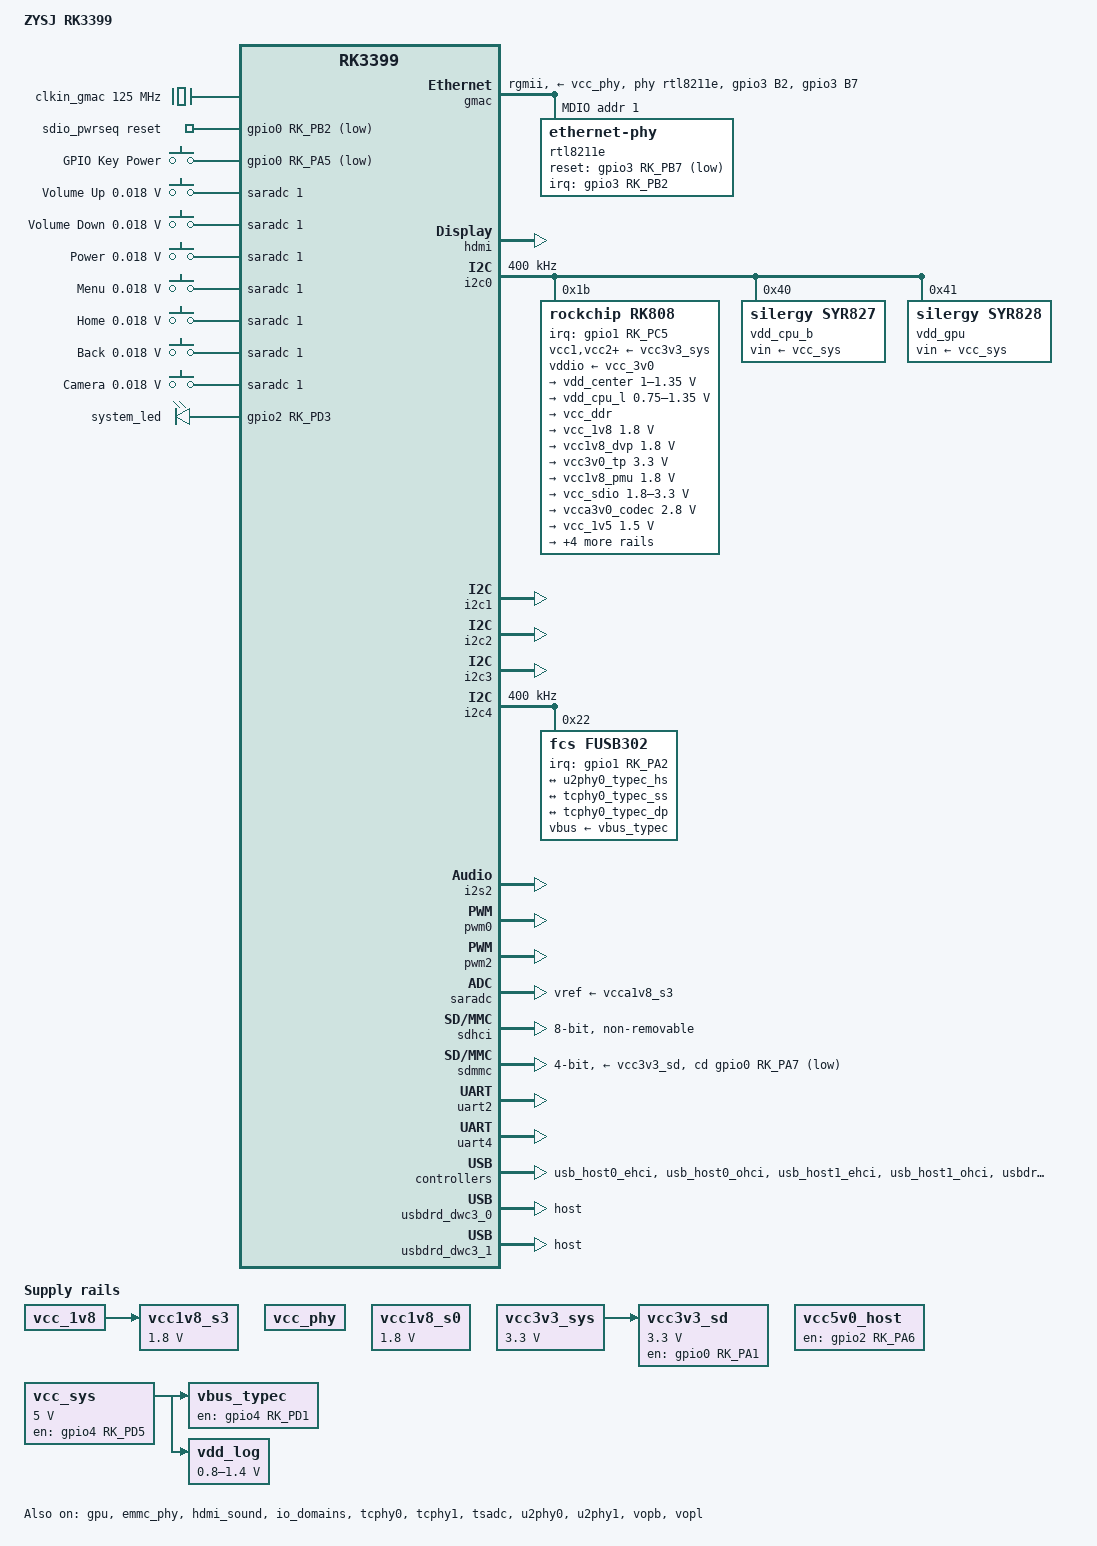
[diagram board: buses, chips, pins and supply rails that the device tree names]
// SPDX-License-Identifier: (GPL-2.0+ OR MIT)
/dts-v1/;

#include <dt-bindings/pwm/pwm.h>
#include <dt-bindings/input/input.h>
#include <dt-bindings/usb/pd.h>
#include "rk3399.dtsi"
#include "rk3399-opp.dtsi"
// 降频opp
// #include "rk3399-t-opp.dtsi"

/ {
	model = "ZYSJ RK3399";
	compatible = "rockchip,rk3399";

	aliases {
		mmc0 = &sdio0;
		mmc1 = &sdmmc;
		mmc2 = &sdhci;
	};

	chosen {
		stdout-path = "serial2:1500000n8";
	};

	backlight: backlight {
		compatible = "pwm-backlight";
		brightness-levels = <
			  0   1   2   3   4   5   6   7
			  8   9  10  11  12  13  14  15
			 16  17  18  19  20  21  22  23
			 24  25  26  27  28  29  30  31
			 32  33  34  35  36  37  38  39
			 40  41  42  43  44  45  46  47
			 48  49  50  51  52  53  54  55
			 56  57  58  59  60  61  62  63
			 64  65  66  67  68  69  70  71
			 72  73  74  75  76  77  78  79
			 80  81  82  83  84  85  86  87
			 88  89  90  91  92  93  94  95
			 96  97  98  99 100 101 102 103
			104 105 106 107 108 109 110 111
			112 113 114 115 116 117 118 119
			120 121 122 123 124 125 126 127
			128 129 130 131 132 133 134 135
			136 137 138 139 140 141 142 143
			144 145 146 147 148 149 150 151
			152 153 154 155 156 157 158 159
			160 161 162 163 164 165 166 167
			168 169 170 171 172 173 174 175
			176 177 178 179 180 181 182 183
			184 185 186 187 188 189 190 191
			192 193 194 195 196 197 198 199
			200 201 202 203 204 205 206 207
			208 209 210 211 212 213 214 215
			216 217 218 219 220 221 222 223
			224 225 226 227 228 229 230 231
			232 233 234 235 236 237 238 239
			240 241 242 243 244 245 246 247
			248 249 250 251 252 253 254 255>;
		default-brightness-level = <200>;
		enable-gpios = <&gpio1 RK_PA1 GPIO_ACTIVE_HIGH>; // bsp
		pwms = <&pwm0 0 25000 0>;
		// status = "okay";
		status = "disabled";
	};

	clkin_gmac: external-gmac-clock {
		compatible = "fixed-clock";
		clock-frequency = <125000000>;
		clock-output-names = "clkin_gmac";
		#clock-cells = <0>;
	};

	sdio_pwrseq: sdio-pwrseq {
		compatible = "mmc-pwrseq-simple";
		clocks = <&rk808 1>;
		clock-names = "ext_clock";
		pinctrl-names = "default";
		pinctrl-0 = <&wifi_reg_on_h>;
		reset-gpios = <&gpio0 RK_PB2 GPIO_ACTIVE_LOW>; // bsp
	};

	vcc_phy: vcc-phy-regulator { // bsp
		compatible = "regulator-fixed";
		regulator-name = "vcc_phy";
		regulator-always-on;
		regulator-boot-on;
	};

	vcc1v8_s0: vcc1v8-s0 { // bsp
		compatible = "regulator-fixed";
		regulator-name = "vcc1v8_s0";
		regulator-always-on;
		regulator-boot-on;
		regulator-min-microvolt = <1800000>;
		regulator-max-microvolt = <1800000>;
	};

	/* switched by pmic_sleep */
	vcc1v8_s3: vcca1v8_s3: vcc1v8-s3 { // ?
		compatible = "regulator-fixed";
		regulator-name = "vcc1v8_s3";
		regulator-always-on;
		regulator-boot-on;
		regulator-min-microvolt = <1800000>;
		regulator-max-microvolt = <1800000>;
		vin-supply = <&vcc_1v8>;
	};

	vcc3v3_sd: vcc3v0-sd {
		compatible = "regulator-fixed";
		enable-active-high;
		gpio = <&gpio0 RK_PA1 GPIO_ACTIVE_HIGH>; // bsp
		pinctrl-names = "default";
		pinctrl-0 = <&sdmmc0_pwr_h>;
		regulator-boot-on;
		regulator-max-microvolt = <3300000>;
		regulator-min-microvolt = <3300000>;
		regulator-name = "vcc3v3_sd";
		vin-supply = <&vcc3v3_sys>;
		};

	vcc3v3_sys: vcc3v3-sys { // bsp
		compatible = "regulator-fixed";
		regulator-name = "vcc3v3_sys";
		regulator-always-on;
		regulator-boot-on;
		regulator-min-microvolt = <3300000>;
		regulator-max-microvolt = <3300000>;
	};

	vcc5v0_host: vcc5v0-host-regulator {
		compatible = "regulator-fixed";
		enable-active-high;
		gpio = <&gpio2 RK_PA6 GPIO_ACTIVE_HIGH>; // bsp
		pinctrl-names = "default";
		pinctrl-0 = <&vcc5v0_host_en>;
		regulator-name = "vcc5v0_host";
		regulator-always-on;
	};

	vbus_typec: vbus-typec-regulator {
		compatible = "regulator-fixed";
		enable-active-high;
		gpio = <&gpio4 RK_PD1 GPIO_ACTIVE_HIGH>; //bsp
		pinctrl-names = "default";
		pinctrl-0 = <&vcc5v0_typec_en>;
		regulator-name = "vbus_typec";
		vin-supply = <&vcc_sys>;
	};

	vcc_sys: vcc-sys { // bsp
		compatible = "regulator-fixed";
		enable-active-high;
		gpio = <&gpio4 RK_PD5 GPIO_ACTIVE_HIGH>; //bsp
		pinctrl-names = "default";
		pinctrl-0 = <&vcc5v0_en>;
		regulator-name = "vcc_sys";
		regulator-always-on;
		regulator-boot-on;
		regulator-min-microvolt = <5000000>;
		regulator-max-microvolt = <5000000>;
	};

	vdd_log: vdd-log { // bsp
		compatible = "pwm-regulator";
		pwms = <&pwm2 0 25000 1>;
		regulator-name = "vdd_log";
		regulator-always-on;
		regulator-boot-on;
		regulator-min-microvolt = <800000>;
		regulator-max-microvolt = <1400000>;
		vin-supply = <&vcc_sys>;
	};

/*
	// Unused DSI
	vcc_lcd: vcc-lcd { // bsp
		compatible = "regulator-fixed";
		enable-active-high;
		gpio = <&gpio3 RK_PD4 GPIO_ACTIVE_HIGH>;
		pinctrl-names = "default";
		pinctrl-0 = <&lcd_panel_reset>;
		regulator-boot-on;
		regulator-max-microvolt = <3300000>;
		regulator-min-microvolt = <3300000>;
		regulator-name = "vcc_lcd";
		startup-delay-us = <20000>;
		vin-supply = <&vcc_sys>;
	};
*/

	rt5651-sound {
		// status = "okay";
		status = "disabled";
		compatible = "simple-audio-card";
		pinctrl-names = "default";
		pinctrl-0 = <&rt5651_hpdet>;

		simple-audio-card,name = "realtek,rt5651-codec";
		simple-audio-card,format = "i2s";
		simple-audio-card,mclk-fs = <256>;
		simple-audio-card,hp-det-gpio = <&gpio4 RK_PD4 GPIO_ACTIVE_HIGH>;
		simple-audio-card,aux-devs = <&speaker_amp>;
		simple-audio-card,pin-switches = "Speaker";
		simple-audio-card,widgets =
			"Microphone", "Mic Jack",
			"Headphone", "Headphones",
			"Speaker", "Speaker";
		simple-audio-card,routing =
			"Mic Jack", "micbias1",
			"Headphones", "HPOL",
			"Headphones", "HPOR",
			"Speaker Amplifier INL", "HPOL",
			"Speaker Amplifier INR", "HPOR",
			"Speaker", "Speaker Amplifier OUTL",
			"Speaker", "Speaker Amplifier OUTR";
		simple-audio-card,cpu {
			sound-dai = <&i2s0>;
		};
		simple-audio-card,codec {
			sound-dai = <&rt5651>;
		};
	};

	speaker_amp: speaker-amplifier {
		compatible = "simple-audio-amplifier";
		pinctrl-names = "default";
		pinctrl-0 = <&rt5651_spkcon>;
		enable-gpios = <&gpio0 RK_PB3 GPIO_ACTIVE_HIGH>;
		sound-name-prefix = "Speaker Amplifier";
		// VCC-supply = <&vcc5v0_sys>;
		status = "disabled";
	};

	gpio-keys {
		compatible = "gpio-keys";
		autorepeat;
		pinctrl-names = "default";
		pinctrl-0 = <&pwrbtn>;

		key-power {
			debounce-interval = <100>;
			gpios = <&gpio0 RK_PA5 GPIO_ACTIVE_LOW>; // bsp
			label = "GPIO Key Power";
			linux,code = <KEY_POWER>;
			wakeup-source;
		};
	};

	adc-keys {
		compatible = "adc-keys";
		io-channels = <&saradc 1>;
		io-channel-names = "buttons";
		keyup-threshold-microvolt = <1800000>;
		poll-interval = <100>;

		vol-up {
				label = "Volume Up";
				linux,code = <KEY_VOLUMEUP>;
				press-threshold-microvolt = <18000>;
		};
		vol-down {
				label = "Volume Down";
				linux,code = <KEY_VOLUMEDOWN>;
				press-threshold-microvolt = <18000>;
		};
		power {
				label = "Power";
				linux,code = <KEY_POWER>;
				press-threshold-microvolt = <18000>;
		};
		menu {
				label = "Menu";
				linux,code = <KEY_F1>;
				press-threshold-microvolt = <18000>;
		};
		home {
				label = "Home";
				linux,code = <KEY_HOME>;
				press-threshold-microvolt = <18000>;
		};
		back {
				label = "Back";
				linux,code = <KEY_BACK>;
				press-threshold-microvolt = <18000>;
		};
		camera {
				label = "Camera";
				linux,code = <KEY_CAMERA>;
				press-threshold-microvolt = <18000>;
		};
	};

	leds {
		compatible = "gpio-leds";
		pinctrl-names = "default";
		pinctrl-0 = <&sys_led_pin>;

		sys_led: sys-led {
			label = "system_led";
			default-state = "on";
			gpios = <&gpio2 RK_PD3 GPIO_ACTIVE_HIGH>;
		};
	};
};

&cpu_l0 {
	cpu-supply = <&vdd_cpu_l>;
};

&cpu_l1 {
	cpu-supply = <&vdd_cpu_l>;
};

&cpu_l2 {
	cpu-supply = <&vdd_cpu_l>;
};

&cpu_l3 {
	cpu-supply = <&vdd_cpu_l>;
};

&cpu_b0 {
	cpu-supply = <&vdd_cpu_b>;
};

&cpu_b1 {
	cpu-supply = <&vdd_cpu_b>;
};

&gpu {
	mali-supply = <&vdd_gpu>;
	status = "okay";
};

&emmc_phy {
	status = "okay";
};

&gmac {
	assigned-clocks = <&cru SCLK_RMII_SRC>;
	assigned-clock-parents = <&clkin_gmac>;
	clock_in_out = "input";
	phy-supply = <&vcc_phy>;
	phy-mode = "rgmii";
	phy-handle = <&rtl8211e>;
	pinctrl-names = "default";
	pinctrl-0 = <&rgmii_pins>, <&phy_intb>, <&phy_rstb>;
	tx_delay = <0x30>;
	rx_delay = <0x20>;
	status = "okay";

	mdio {
		compatible = "snps,dwmac-mdio";
		#address-cells = <1>;
		#size-cells = <0>;

		rtl8211e: ethernet-phy@1 {
			reg = <1>;
			interrupt-parent = <&gpio3>;
			interrupts = <RK_PB2 IRQ_TYPE_LEVEL_LOW>;
			reset-assert-us = <10000>;
			reset-deassert-us = <30000>;
			reset-gpios = <&gpio3 RK_PB7 GPIO_ACTIVE_LOW>; // bsp
		};
	};
};

&hdmi {
	ddc-i2c-bus = <&i2c3>;
	status = "okay";
};

&hdmi_sound {
	status = "okay";
};

&i2c0 {
	clock-frequency = <400000>;
	i2c-scl-rising-time-ns = <168>;
	i2c-scl-falling-time-ns = <4>;
	status = "okay";

	rk808: pmic@1b { // bsp checked
		compatible = "rockchip,rk808";
		reg = <0x1b>;
		interrupt-parent = <&gpio1>;
		interrupts = <RK_PC5 IRQ_TYPE_LEVEL_LOW>;
		#clock-cells = <1>;
		clock-output-names = "xin32k", "rk808-clkout2"; // bsp
		pinctrl-names = "default";
		pinctrl-0 = <&pmic_int_l &pmic_dvs2>;
		// pinctrl-0 = <&pmic_int_l>;
		rockchip,system-power-controller;
		wakeup-source;

		vcc1-supply = <&vcc3v3_sys>;
		vcc2-supply = <&vcc3v3_sys>;
		vcc3-supply = <&vcc3v3_sys>;
		vcc4-supply = <&vcc3v3_sys>;
		vcc6-supply = <&vcc3v3_sys>;
		vcc7-supply = <&vcc3v3_sys>;
		vcc8-supply = <&vcc3v3_sys>;
		vcc9-supply = <&vcc3v3_sys>;
		vcc10-supply = <&vcc3v3_sys>;
		vcc11-supply = <&vcc3v3_sys>;
		vcc12-supply = <&vcc3v3_sys>;
		vddio-supply = <&vcc_3v0>;

		regulators {
			vdd_center: DCDC_REG1 {
				regulator-name = "vdd_center";
				regulator-always-on;
				regulator-boot-on;
				regulator-min-microvolt = <1000000>;
				regulator-max-microvolt = <1350000>;
				regulator-ramp-delay = <6001>;
				regulator-state-mem {
					regulator-off-in-suspend;
				};
			};

			vdd_cpu_l: DCDC_REG2 {
				regulator-name = "vdd_cpu_l";
				regulator-always-on;
				regulator-boot-on;
				regulator-min-microvolt = <750000>;
				regulator-max-microvolt = <1350000>;
				regulator-ramp-delay = <6001>;
				regulator-state-mem {
					regulator-off-in-suspend;
				};
			};

			vcc_ddr: DCDC_REG3 {
				regulator-name = "vcc_ddr";
				regulator-always-on;
				regulator-boot-on;
				regulator-state-mem {
					regulator-on-in-suspend;
				};
			};

			vcc_1v8: DCDC_REG4 {
				regulator-name = "vcc_1v8";
				regulator-always-on;
				regulator-boot-on;
				regulator-min-microvolt = <1800000>;
				regulator-max-microvolt = <1800000>;
				regulator-state-mem {
					regulator-on-in-suspend;
					regulator-suspend-microvolt = <1800000>;
				};
			};

			vcc1v8_dvp: LDO_REG1 {
				regulator-name = "vcc1v8_dvp";
				regulator-always-on;
				regulator-boot-on;
				regulator-min-microvolt = <1800000>;
				regulator-max-microvolt = <1800000>;
				regulator-state-mem {
					regulator-off-in-suspend;
				};
			};

			vcc3v0_tp: LDO_REG2 {
				regulator-name = "vcc3v0_tp";
				regulator-always-on;
				regulator-boot-on;
				regulator-min-microvolt = <3300000>;
				regulator-max-microvolt = <3300000>;
				regulator-state-mem {
					regulator-off-in-suspend;
				};
			};

			vcc1v8_pmu: LDO_REG3 {
				regulator-name = "vcc1v8_pmu";
				regulator-always-on;
				regulator-boot-on;
				regulator-min-microvolt = <1800000>;
				regulator-max-microvolt = <1800000>;
				regulator-state-mem {
					regulator-on-in-suspend;
					regulator-suspend-microvolt = <1800000>;
				};
			};

			vcc_sdio: LDO_REG4 {
				regulator-name = "vcc_sdio";
				regulator-always-on;
				regulator-boot-on;
				regulator-min-microvolt = <1800000>;
				regulator-max-microvolt = <3300000>;
				regulator-state-mem {
					regulator-on-in-suspend;
					regulator-suspend-microvolt = <3000000>;
				};
			};

			vcca3v0_codec: LDO_REG5 {
				regulator-name = "vcca3v0_codec";
				regulator-always-on;
				regulator-boot-on;
				regulator-min-microvolt = <2800000>;
				regulator-max-microvolt = <2800000>;
				regulator-state-mem {
					regulator-off-in-suspend;
				};
			};

			vcc_1v5: LDO_REG6 {
				regulator-name = "vcc_1v5";
				regulator-always-on;
				regulator-boot-on;
				regulator-min-microvolt = <1500000>;
				regulator-max-microvolt = <1500000>;
				regulator-state-mem {
					regulator-on-in-suspend;
					regulator-suspend-microvolt = <1500000>;
				};
			};

			vcca1v8_codec: LDO_REG7 {
				regulator-name = "vcca1v8_codec";
				regulator-always-on;
				regulator-boot-on;
				regulator-min-microvolt = <1800000>;
				regulator-max-microvolt = <1800000>;
				regulator-state-mem {
					regulator-off-in-suspend;
				};
			};

			vcc_3v0: LDO_REG8 {
				regulator-name = "vcc_3v0";
				regulator-always-on;
				regulator-boot-on;
				regulator-min-microvolt = <3000000>;
				regulator-max-microvolt = <3000000>;
				regulator-state-mem {
					regulator-on-in-suspend;
					regulator-suspend-microvolt = <3000000>;
				};
			};

			vcc3v3_s3: vcc_lan: SWITCH_REG1 {
				regulator-name = "vcc3v3_s3";
				regulator-always-on;
				regulator-boot-on;
				regulator-state-mem {
					regulator-off-in-suspend;
				};
			};

			vcc3v3_s0: SWITCH_REG2 {
				regulator-name = "vcc3v3_s0";
				regulator-always-on;
				regulator-boot-on;
				regulator-state-mem {
					regulator-off-in-suspend;
				};
			};
		};
	};

	vdd_cpu_b: regulator@40 {
		compatible = "silergy,syr827";
		reg = <0x40>;
		fcs,suspend-voltage-selector = <1>;
		pinctrl-names = "default";
		pinctrl-0 = <&cpu_b_sleep>; // bsp
		regulator-name = "vdd_cpu_b";
		regulator-min-microvolt = <712500>;
		regulator-max-microvolt = <1500000>;
		regulator-ramp-delay = <1000>;
		regulator-always-on;
		regulator-boot-on;
		vin-supply = <&vcc_sys>;

		regulator-state-mem {
			regulator-off-in-suspend;
		};
	};

	vdd_gpu: regulator@41 {
		compatible = "silergy,syr828";
		reg = <0x41>;
		fcs,suspend-voltage-selector = <1>;
		pinctrl-names = "default";
		pinctrl-0 = <&gpu_sleep>; // bsp
		regulator-name = "vdd_gpu";
		regulator-min-microvolt = <712500>;
		regulator-max-microvolt = <1500000>;
		regulator-ramp-delay = <1000>;
		regulator-always-on;
		regulator-boot-on;
		vin-supply = <&vcc_sys>;

		regulator-state-mem {
			regulator-off-in-suspend;
		};
	};
};

&i2c1 {
	i2c-scl-rising-time-ns = <300>;
	i2c-scl-falling-time-ns = <15>;
	status = "okay";

	rt5651: rt5651@1a {
		#sound-dai-cells = <0>;
		compatible = "realtek,rt5651";
		reg = <0x1a>;
		clocks = <&cru SCLK_I2S_8CH_OUT>;
		clock-names = "mclk";
		// status = "okay";
		status = "disabled";
	};
/*
	// HDMI IN
	tc358749x@0f {
		compatible = "toshiba,tc358749x";
		csi-ctl-gpios = <&gpio2 RK_PB2 GPIO_ACTIVE_HIGH>;
		int-gpios = <&gpio2 RK_PB4 GPIO_ACTIVE_HIGH>;
		pinctrl-0 = <0x3f>;
		pinctrl-names = "default";
		power-gpios = <&gpio2 RK_PA6 GPIO_ACTIVE_HIGH>;
		power18-gpios = <&gpio2 RK_PB1 GPIO_ACTIVE_HIGH>;
		power33-gpios = <&gpio2 RK_PA6 GPIO_ACTIVE_HIGH>;
		reg = <0x0f>;
		reset-gpios = <&gpio2 RK_PA6 GPIO_ACTIVE_HIGH>;
		stanby-gpios = <&gpio2 RK_PB0 GPIO_ACTIVE_HIGH>;
		status = "okay";
	};
*/
};

&i2c2 {
	i2c-scl-rising-time-ns = <600>;
	i2c-scl-falling-time-ns = <20>;
	status = "okay";
};

// Used for HDMI
&i2c3 {
	i2c-scl-rising-time-ns = <450>;
	i2c-scl-falling-time-ns = <15>;
	status = "okay";
};

&i2c4 {
	clock-frequency = <400000>;
	i2c-scl-rising-time-ns = <450>;
	i2c-scl-falling-time-ns = <15>;
	status = "okay";

	fusb302@22 {
		compatible = "fcs,fusb302";
		reg = <0x22>;
		interrupt-parent = <&gpio1>;
		interrupts = <RK_PA2 IRQ_TYPE_LEVEL_LOW>;
		pinctrl-names = "default";
		pinctrl-0 = <&chg_cc_int_l>;
		vbus-supply = <&vbus_typec>;

		typec_con: connector {
			compatible = "usb-c-connector";
			data-role = "host";
			label = "USB-C";
			op-sink-microwatt = <1000000>;
			power-role = "dual";
			sink-pdos =
				<PDO_FIXED(5000, 2500, PDO_FIXED_USB_COMM)>;
			source-pdos =
				<PDO_FIXED(5000, 1400, PDO_FIXED_USB_COMM)>;
			try-power-role = "sink";

			ports {
				#address-cells = <1>;
				#size-cells = <0>;

				port@0 {
					reg = <0>;
					typec_hs: endpoint {
						remote-endpoint = <&u2phy0_typec_hs>;
					};
				};
				port@1 {
					reg = <1>;
					typec_ss: endpoint {
						remote-endpoint = <&tcphy0_typec_ss>;
					};
				};
				port@2 {
					reg = <2>;
					typec_dp: endpoint {
						remote-endpoint = <&tcphy0_typec_dp>;
					};
				};
			};
		};
	};
/*
	accelerometer@68 {
		compatible = "invensense,mpu6500";
		reg = <0x68>;
		interrupt-parent = <&gpio1>;
		interrupts = <RK_PC6 IRQ_TYPE_EDGE_RISING>;
		status = "okay";
	};
*/
};

// ALC5651
&i2s0 {
	rockchip,playback-channels = <8>;
	rockchip,capture-channels = <8>;
	// status = "okay";
	status = "disabled";
};

// HDMI SOUND OUT
&i2s2 {
	status = "okay";
};

&io_domains {
	status = "okay";
	bt656-supply = <&vcc1v8_s0>; // bsp
	// audio-supply = <&vcca1v8_codec>; // bsp
	sdmmc-supply = <&vcc_sdio>; // bsp
	gpio1830-supply = <&vcc_3v0>; // bsp
};

&pmu_io_domains {
	status = "okay";
	pmu1830-supply = <&vcc_3v0>;
};

&pinctrl {
	buttons {
		pwrbtn: pwrbtn {
			rockchip,pins = <0 RK_PA5 RK_FUNC_GPIO &pcfg_pull_up>; // bsp
		};
	};

	pmic {
		cpu_b_sleep: cpu-b-sleep {
			rockchip,pins = <1 RK_PC1 RK_FUNC_GPIO &pcfg_pull_down>; // bsp
		};

		gpu_sleep: gpu-sleep {
			rockchip,pins = <1 RK_PB6 RK_FUNC_GPIO &pcfg_pull_down>; // bsp
		};

		pmic_int_l: pmic-int-l {
			rockchip,pins = <1 RK_PC5 RK_FUNC_GPIO &pcfg_pull_up>; // bsp
		};

		pmic_dvs2: pmic-dvs2 {
			rockchip,pins = <1 RK_PC2 RK_FUNC_GPIO &pcfg_pull_down>; // bsp
		};
	};

	sd {
		sdmmc0_pwr_h: sdmmc0-pwr-h {
			rockchip,pins =
				<0 RK_PA1 RK_FUNC_GPIO &pcfg_pull_none>; // bsp
		};
	};

	gmac {
		phy_intb: phy-intb {
			rockchip,pins = <3 RK_PB2 RK_FUNC_GPIO &pcfg_pull_up>; // bsp
		};

		phy_rstb: phy-rstb {
			rockchip,pins = <3 RK_PB7 RK_FUNC_GPIO &pcfg_pull_none>; // bsp
		};
	};

	usb {
		vcc5v0_host_en: vcc5v0-host-en {
			rockchip,pins =
				<2 RK_PA6 RK_FUNC_GPIO &pcfg_pull_none>; // bsp
		};

		vcc5v0_typec_en: vcc5v0-typec-en {
			rockchip,pins =
				<4 RK_PD1 RK_FUNC_GPIO &pcfg_pull_none>; // bsp
		};
	};

	sdio-pwrseq {
		wifi_reg_on_h: wifi-reg-on-h {
			rockchip,pins = <0 RK_PB2 RK_FUNC_GPIO &pcfg_pull_none>; // bsp
		};
	};

	wifi {
		wifi_host_wake_l: wifi-host-wake-l {
			rockchip,pins = <0 RK_PA3 RK_FUNC_GPIO &pcfg_pull_none>; // bsp
		};
	};

	bluetooth {
		bt_reg_on_h: bt-enable-h {
			rockchip,pins = <0 RK_PB1 RK_FUNC_GPIO &pcfg_pull_none>; // bsp
		};

		bt_host_wake_l: bt-host-wake-l {
			rockchip,pins = <0 RK_PA4 RK_FUNC_GPIO &pcfg_pull_none>; // bsp
		};

		bt_wake_l: bt-wake-l {
			rockchip,pins = <2 RK_PD2 RK_FUNC_GPIO &pcfg_pull_none>; // bsp
		};
	};

	rt5651 {
		rt5651_spkcon: rt5651-spkcon {
			rockchip,pins = <0 RK_PB3 RK_FUNC_GPIO &pcfg_pull_up>; // bsp
		};

		rt5651_hpdet: rt5651-hpdet {
			rockchip,pins = <4 RK_PD4 RK_FUNC_GPIO &pcfg_pull_none>; // bsp
		};
	};

	fusb302 {
		chg_cc_int_l: chg-cc-int-l {
			rockchip,pins = <1 RK_PA2 RK_FUNC_GPIO &pcfg_pull_up>; // bsp
		};
	};

	leds {
		sys_led_pin: sys-led-pin {
			rockchip,pins = <2 RK_PD3 RK_FUNC_GPIO &pcfg_pull_down>; // bsp
		};
	};

	lcd-panel {
		lcd_panel_reset: lcd-panel-reset {
			rockchip,pins = <3 RK_PD4 RK_FUNC_GPIO &pcfg_pull_none>; // bsp
		};

		mipi_dsi_en: mipi-dsi-en{
			rockchip,pins = <2 RK_PB1 RK_FUNC_GPIO &pcfg_pull_none>; // bsp
		};

		mipi_dsi_reset: mipi-dsi-reset {
			rockchip,pins = <4 RK_PA7 RK_FUNC_GPIO &pcfg_pull_none>; // bsp
		};
	};

	touchscreen {
		touch_int_l: touch-int-l {
			rockchip,pins = <1 RK_PC4 RK_FUNC_GPIO &pcfg_pull_up>; // bsp
		};

		touch_reset_l: touch-reset-l {
			rockchip,pins = <4 RK_PC6 RK_FUNC_GPIO &pcfg_pull_none>; // bsp
		};
	};

/*
	// BSP Defined GPIO
	rk33xx-gpio {
		compatible = "rockchip,rk33xx_gpio_init";
		pinctrl-0 = <0xd8>;
		pinctrl-names = "default";
		sounds_spk_en = <&gpio0 RK_PB3 GPIO_ACTIVE_HIGH>;
		status = "okay";
		system_5v_en = <&gpio4 RK_PD5 GPIO_ACTIVE_HIGH>;
		system_led = <&gpio2 RK_PD3 GPIO_ACTIVE_HIGH>;
		uart_ic_en = <&gpio2 RK_PB2 GPIO_ACTIVE_HIGH>;
		usb_hub_res = <&gpio1 RK_PC2 GPIO_ACTIVE_HIGH>;
	};
	rkxx_user-gpio {
		compatible = "rockchip,rkxx_user_gpio";
		edp_display_en = <&gpio1 RK_PA1 GPIO_ACTIVE_HIGH>;
		g4_power = <&gpio3 RK_PD6 GPIO_ACTIVE_HIGH>;
		g4_reset = <&gpio2 RK_PB0 GPIO_ACTIVE_HIGH>;
		ledvcc_en0 = <&gpio2 RK_PB4 GPIO_ACTIVE_LOW>;
		ledvcc_en1 = <&gpio4 RK_PA6 GPIO_ACTIVE_LOW>;
		ledvcc_en2 = <&gpio4 RK_PA5 GPIO_ACTIVE_LOW>;
		lvds_display_en = <&gpio3 RK_PD5 GPIO_ACTIVE_HIGH>;
		lvds_on_off = <&gpio1 RK_PB5 GPIO_ACTIVE_HIGH>;
		relay_pow_en1 = <&gpio4 RK_PD2 GPIO_ACTIVE_LOW>;
		relay_pow_en2 = <&gpio4 RK_PD3 GPIO_ACTIVE_LOW>;
		status = "okay";
		usb_power = <&gpio2 RK_PA6 GPIO_ACTIVE_HIGH>;
		user_io01 = <&gpio1 RK_PA3 GPIO_ACTIVE_HIGH>;
		user_io02 = <&gpio1 RK_PA4 GPIO_ACTIVE_HIGH>;
		user_io03 = <&gpio1 RK_PB1 GPIO_ACTIVE_HIGH>;
		user_io04 = <&gpio1 RK_PB2 GPIO_ACTIVE_HIGH>;
	};
*/
	func_gpio {
		vcc5v0_en: vcc5v0-en {
			rockchip,pins = <4 RK_PD5 RK_FUNC_GPIO &pcfg_pull_none>; // bsp
		};

		uart_ic_en: uart-ic-en {
			rockchip,pins = <2 RK_PB2 RK_FUNC_GPIO &pcfg_pull_none>; // bsp
		};

		usb_hub_res: usb-hub-res {
			rockchip,pins = <1 RK_PC2 RK_FUNC_GPIO &pcfg_pull_none>; // bsp
		};

		edp_display_en: edp-display-en {
			rockchip,pins = <1 RK_PA1 RK_FUNC_GPIO &pcfg_pull_none>; // bsp
		};
		g4_power: g4-power {
			rockchip,pins = <3 RK_PD6 RK_FUNC_GPIO &pcfg_pull_none>; // bsp
		};
		g4_reset: g4-reset {
			rockchip,pins = <2 RK_PB0 RK_FUNC_GPIO &pcfg_pull_none>; // bsp
		};
		ledvcc_en0: ledvcc-en0 {
			rockchip,pins = <2 RK_PB4 RK_FUNC_GPIO &pcfg_pull_none>; // bsp
		};
		ledvcc_en1: ledvcc-en1 {
			rockchip,pins = <4 RK_PA6 RK_FUNC_GPIO &pcfg_pull_none>; // bsp
		};
		edvcc_en2: ledvcc-en2 {
			rockchip,pins = <4 RK_PA5 RK_FUNC_GPIO &pcfg_pull_none>; // bsp
		};
		lvds_display_en: lvds-display-en {
			rockchip,pins = <3 RK_PD5 RK_FUNC_GPIO &pcfg_pull_none>; // bsp
		};
		lvds_on_off: lvds-on-off {
			rockchip,pins = <1 RK_PB5 RK_FUNC_GPIO &pcfg_pull_none>; // bsp
		};
		relay_pow_en1: relay-pow-en1 {
			rockchip,pins = <4 RK_PD2 RK_FUNC_GPIO &pcfg_pull_none>; // bsp
		};
		relay_pow_en2: relay-pow-en2 {
			rockchip,pins = <4 RK_PD3 RK_FUNC_GPIO &pcfg_pull_none>; // bsp
		};

		user_io01: user-io01 {
			rockchip,pins = <1 RK_PA3 RK_FUNC_GPIO &pcfg_pull_none>; // bsp
		};
		user_io02: user-io02 {
			rockchip,pins = <1 RK_PA4 RK_FUNC_GPIO &pcfg_pull_none>; // bsp
		};
		user_io03: user-io03 {
			rockchip,pins = <1 RK_PB1 RK_FUNC_GPIO &pcfg_pull_none>; // bsp
		};
		user_io04: user-io04 {
			rockchip,pins = <1 RK_PB2 RK_FUNC_GPIO &pcfg_pull_none>; // bsp
		};
	};

	wiegand {
		data0_pin: data0-pin {
			rockchip,pins = <1 RK_PA4 RK_FUNC_GPIO &pcfg_pull_none>; // bsp
		};
		data0_send_pin: data0-send-pin {
			rockchip,pins = <1 RK_PA0 RK_FUNC_GPIO &pcfg_pull_none>; // bsp
		};
		data1_pin: data1-pin {
			rockchip,pins = <2 RK_PA5 RK_FUNC_GPIO &pcfg_pull_none>; // bsp
		};
		data1_send_pin: data2-send-pin {
			rockchip,pins = <1 RK_PC6 RK_FUNC_GPIO &pcfg_pull_none>; // bsp
		};	
	};
};

&pwm0 {
	status = "okay";
};

&pwm2 {
	status = "okay";
};

// IR
// &pwm3 {
// 	status = "okay";
// };

&saradc {
	vref-supply = <&vcca1v8_s3>;
	status = "okay";
};

&sdhci {
	bus-width = <8>;
	mmc-hs400-1_8v;
	mmc-hs400-enhanced-strobe;
	keep-power-in-suspend;
	non-removable;
	status = "okay";
};

&sdio0 {
	bus-width = <4>;
	cap-sd-highspeed;
	cap-sdio-irq;
	clock-frequency = <50000000>;
	disable-wp;
	keep-power-in-suspend;
	max-frequency = <50000000>;
	mmc-pwrseq = <&sdio_pwrseq>;
	non-removable;
	pinctrl-names = "default";
	pinctrl-0 = <&sdio0_bus4 &sdio0_cmd &sdio0_clk>;
	sd-uhs-sdr104;
	#address-cells = <1>;
	#size-cells = <0>;
	// status = "okay";
	status = "disabled";

	brcmf: wifi@1 {
		reg = <1>;
		compatible = "brcm,bcm43455-fmac";
		interrupt-parent = <&gpio0>;
		interrupts = <RK_PA3 GPIO_ACTIVE_HIGH>; // bsp
		interrupt-names = "host-wake";
		pinctrl-names = "default";
		pinctrl-0 = <&wifi_host_wake_l>;
		status = "disabled";
	};
};

&sdmmc {
	bus-width = <4>;
	cap-mmc-highspeed;
	cap-sd-highspeed;
	cd-gpios = <&gpio0 RK_PA7 GPIO_ACTIVE_LOW>; // bsp
	clock-frequency = <150000000>;
	disable-wp;
	max-frequency = <150000000>;
	pinctrl-names = "default";
	pinctrl-0 = <&sdmmc_clk &sdmmc_cmd &sdmmc_cd &sdmmc_bus4>;
	vmmc-supply = <&vcc3v3_sd>;
	vqmmc-supply = <&vcc_sdio>;
	status = "okay";
};

&tcphy0 {
	status = "okay";
};

&tcphy0_dp {
	port {
		tcphy0_typec_dp: endpoint {
			remote-endpoint = <&typec_dp>;
		};
	};
};

&tcphy0_usb3 {
	port {
		tcphy0_typec_ss: endpoint {
			remote-endpoint = <&typec_ss>;
		};
	};
};

&tcphy1 {
	status = "okay";
};

&tsadc {
	rockchip,hw-tshut-mode = <1>;
	rockchip,hw-tshut-polarity = <1>;
	status = "okay";
};

&u2phy0 {
	status = "okay";

	u2phy0_otg: otg-port {
		phy-supply = <&vbus_typec>;
		status = "okay";
	};

	u2phy0_host: host-port {
		phy-supply = <&vcc5v0_host>;
		status = "okay";
	};

	port {
		u2phy0_typec_hs: endpoint {
			remote-endpoint = <&typec_hs>;
		};
	};
};

&u2phy1 {
	status = "okay";

	u2phy1_otg: otg-port {
		status = "okay";
	};

	u2phy1_host: host-port {
		phy-supply = <&vcc5v0_host>;
		status = "okay";
	};
};

&uart0 {
	pinctrl-names = "default";
	pinctrl-0 = <&uart0_xfer &uart0_cts &uart0_rts>;
	status = "disabled";

	bluetooth {
		compatible = "brcm,bcm4345c5";
		clocks = <&rk808 1>;
		clock-names = "ext_clock";
		device-wakeup-gpios = <&gpio2 RK_PD2 GPIO_ACTIVE_HIGH>; // bsp
		host-wakeup-gpios = <&gpio0 RK_PA4 GPIO_ACTIVE_HIGH>; // bsp
		shutdown-gpios = <&gpio0 RK_PB1 GPIO_ACTIVE_HIGH>; // bsp
		pinctrl-names = "default";
		pinctrl-0 = <&bt_host_wake_l &bt_wake_l &bt_reg_on_h>;
		vbat-supply = <&vcc3v3_sys>;
		vddio-supply = <&vcc_1v8>;
		status = "disabled";
	};
};

&uart2 {
	status = "okay";
};

&uart4 {
	status = "okay";
};

&usb_host0_ehci {
	status = "okay";
};

&usb_host0_ohci {
	status = "okay";
};

&usb_host1_ehci {
	status = "okay";
};

&usb_host1_ohci {
	status = "okay";
};

&usbdrd3_0 {
	status = "okay";
};

&usbdrd_dwc3_0 {
	status = "okay";
	dr_mode = "host";
};

&usbdrd3_1 {
	status = "okay";
};

&usbdrd_dwc3_1 {
	status = "okay";
	dr_mode = "host";
};

&vopb {
	status = "okay";
};

&vopb_mmu {
	status = "okay";
};

&vopl {
	status = "okay";
};

&vopl_mmu {
	status = "okay";
};
